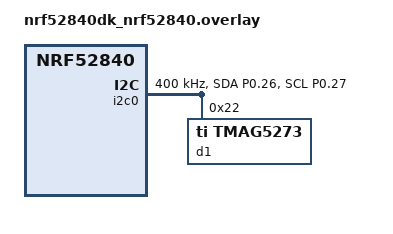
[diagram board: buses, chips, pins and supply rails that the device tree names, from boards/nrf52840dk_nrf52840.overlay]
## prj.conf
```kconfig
# Logging and Console
CONFIG_LOG=y
CONFIG_CBPRINTF_FP_SUPPORT=y

# I2C and Sensors
CONFIG_I2C=y
CONFIG_SENSOR=y
CONFIG_TMAG5273=y
```

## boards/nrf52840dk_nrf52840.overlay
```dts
&i2c0 {
	status = "okay";
	compatible = "nordic,nrf-twim";
	pinctrl-0 = <&i2c0_default>;
	pinctrl-1 = <&i2c0_sleep>;
	pinctrl-names = "default", "sleep";
	clock-frequency = <I2C_BITRATE_FAST>;

	d1: tmag5273@22 {
		compatible = "ti,tmag5273";
		reg = <0x22>;
	};
};

&pinctrl {
	i2c0_default: i2c0_default {
		group1 {
			psels = <NRF_PSEL(TWIM_SDA, 0, 26)>, // Change to your SDA pin
				<NRF_PSEL(TWIM_SCL, 0, 27)>; // Change to your SCL pin
		};
	};

	i2c0_sleep: i2c0_sleep {
		group1 {
			psels = <NRF_PSEL(TWIM_SDA, 0, 26)>,
				<NRF_PSEL(TWIM_SCL, 0, 27)>;
			low-power-enable;
		};
	};
};
```

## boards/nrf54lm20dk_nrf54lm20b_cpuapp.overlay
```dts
#inclued <zephyr/dt-bindings/pinctrl/nrf-pinctrl.h>


&pinctrl {
    i2c22_default: i2c22_default {
        group1 {
            psels = <NRF_PSEL(TWIM_SCL, 1, 13)>,
                <NRF_PSEL(TWIM_SDA, 1, 12)>;
        };
    };
        i2c22_sleep: i2c22_sleep {
        group2 {
            psels = <NRF_PSEL(TWIM_SCL, 1, 13)>,
                <NRF_PSEL(TWIM_SDA, 1, 12)>;
            low-power-enable;
        };
    };
};

&i2c22 {
    status = "okay";
    clock-frequency = <I2C_BITRATE_FAST>;

    tmag5273: tmag5273@22 {
        compatible = "ti,tmag5273";
        reg = <0x22>;
        status = "okay";

        /* Configure operating mode:
         * 0 = Standby, 1 = Sleep, 2 = Continuous measure
         */
        ti,operating-mode = <2>;

        /* Averaging: 0 = 1x, 1 = 2x, 2 = 4x, 3 = 8x, etc. */
        ti,average = <1>;

        /* Enable magnetic channels: X, Y, Z enabled */
        ti,channel-mode = <7>;
    };
};
```

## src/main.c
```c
#include <zephyr/kernel.h>
#include <zephyr/drivers/i2c.h>
#include <zephyr/logging/log.h>

LOG_MODULE_REGISTER(tmag_test, LOG_LEVEL_INF);

/*
 * This looks up the 'tmag5273' node label we defined in the
 * devicetree overlay and extracts the bus controller and address.
 */
#define TMAG5273_NODE DT_NODELABEL(d1)
const struct i2c_dt_spec dev_i2c = I2C_DT_SPEC_GET(TMAG5273_NODE);

#if !DT_NODE_EXISTS(TMAG5273_NODE)
#error "TMAG5273 devicetree node not found! Check your overlay."
#endif

/* TMAG5273 Register Offsets */
#define TMAG5273_REG_DEVICE_CONFIG_2 0x01
#define TMAG5273_REG_SENSOR_CONFIG_1 0x02
#define TMAG5273_REG_DEVICE_ID       0x0D
#define TMAG5273_REG_X_MSB_RESULT    0x12

/* Configuration Bits */
#define TMAG5273_OPERATING_MODE_CONTINUOUS (2 << 0)
#define TMAG5273_MAG_CH_EN_XYZ             (0x7 << 4) // Enable X, Y, and Z channels

/* Moving Average Filter Settings */
#define MA_WINDOW_SIZE 8

int main(void)
{
	uint8_t device_id = 0;
	uint8_t xyz_data[6];
	int16_t x_raw, y_raw, z_raw;
	int16_t x_filtered, y_filtered, z_filtered;
	int ret;

	/* Filter buffers and state tracking */
	int16_t x_buf[MA_WINDOW_SIZE] = {0};
	int16_t y_buf[MA_WINDOW_SIZE] = {0};
	int16_t z_buf[MA_WINDOW_SIZE] = {0};
	uint8_t head = 0;
	uint8_t current_size = 0;
	int32_t x_sum = 0, y_sum = 0, z_sum = 0;

	LOG_INF("Starting TMAG5273 XYZ Sensor reader test with Moving Average Filter...");

	/* Check if the underlying I2C controller/bus is ready */
	if (!device_is_ready(dev_i2c.bus)) {
		LOG_ERR("I2C bus %s is not ready!", dev_i2c.bus->name);
		return 0;
	}

	LOG_INF("I2C bus ready. Verifying Device ID at address 0x%02X...", dev_i2c.addr);

	/* Read Device ID */
	ret = i2c_reg_read_byte_dt(&dev_i2c, TMAG5273_REG_DEVICE_ID, &device_id);
	if (ret < 0) {
		LOG_ERR("Failed to read Device ID (err %d)", ret);
	} else {
		LOG_INF("TMAG5273 Device ID: 0x%02X", device_id);
	}

	/* Configure sensor: Enable X, Y, Z channels */
	ret = i2c_reg_write_byte_dt(&dev_i2c, TMAG5273_REG_SENSOR_CONFIG_1, TMAG5273_MAG_CH_EN_XYZ);
	if (ret < 0) {
		LOG_ERR("Failed to configure sensor channels (err %d)", ret);
		return 0;
	}

	/* Configure sensor: Set operating mode to Continuous conversion */
	ret = i2c_reg_write_byte_dt(&dev_i2c, TMAG5273_REG_DEVICE_CONFIG_2,
				    TMAG5273_OPERATING_MODE_CONTINUOUS);
	if (ret < 0) {
		LOG_ERR("Failed to configure operating mode (err %d)", ret);
		return 0;
	}

	LOG_INF("TMAG5273 configured successfully for continuous XYZ reading.");

	while (1) {
		/*
		 * Burst read 6 bytes starting from X MSB (0x12):
		 * [0]: X_MSB, [1]: X_LSB, [2]: Y_MSB, [3]: Y_LSB, [4]: Z_MSB, [5]: Z_LSB
		 */
		ret = i2c_burst_read_dt(&dev_i2c, TMAG5273_REG_X_MSB_RESULT, xyz_data,
					sizeof(xyz_data));

		if (ret < 0) {
			LOG_ERR("Failed to read XYZ data from TMAG5273 sensor (err %d)", ret);
		} else {
			/* Combine MSB and LSB into 16-bit signed raw values */
			x_raw = (int16_t)((xyz_data[0] << 8) | xyz_data[1]);
			y_raw = (int16_t)((xyz_data[2] << 8) | xyz_data[3]);
			z_raw = (int16_t)((xyz_data[4] << 8) | xyz_data[5]);

			/* --- Moving Average Filter Logic --- */

			// Subtract the oldest sample from the running sum if buffer is full
			if (current_size == MA_WINDOW_SIZE) {
				x_sum -= x_buf[head];
				y_sum -= y_buf[head];
				z_sum -= z_buf[head];
			} else {
				current_size++;
			}

			// Insert new raw reading into the buffer
			x_buf[head] = x_raw;
			y_buf[head] = y_raw;
			z_buf[head] = z_raw;

			// Add the new sample to the running sum
			x_sum += x_raw;
			y_sum += y_raw;
			z_sum += z_raw;

			// Advance the circular buffer head pointer
			head = (head + 1) % MA_WINDOW_SIZE;

			// Calculate final averages
			x_filtered = (int16_t)(x_sum / current_size);
			y_filtered = (int16_t)(y_sum / current_size);
			z_filtered = (int16_t)(z_sum / current_size);

			/* Output raw vs filtered if you want to compare, or just print filtered */
			LOG_INF("Raw  -> X: %6d | Y: %6d | Z: %6d", x_raw, y_raw, z_raw);
			LOG_INF("Filt -> X: %6d | Y: %6d | Z: %6d", x_filtered, y_filtered,
				z_filtered);
		}

		k_msleep(500);
	}

	return 0;
}
```
